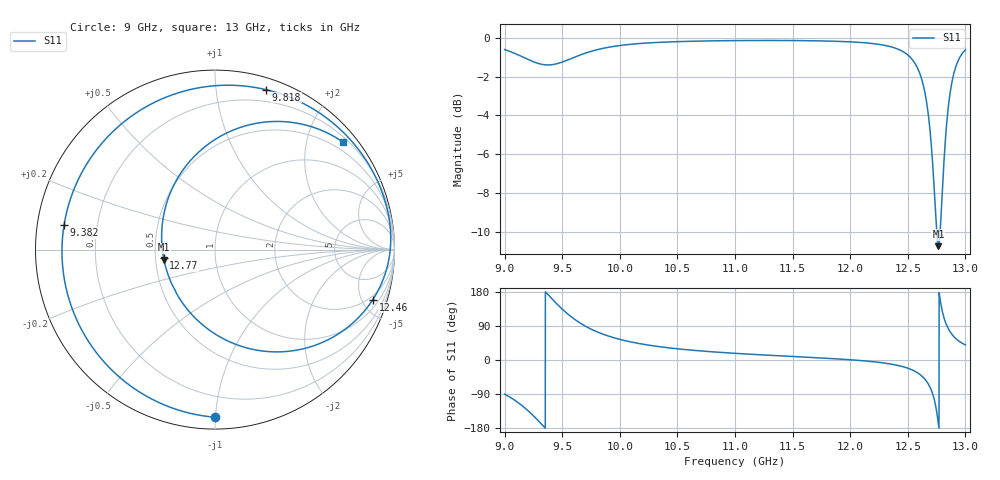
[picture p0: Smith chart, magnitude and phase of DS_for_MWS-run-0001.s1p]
! TOUCHSTONE file generated by CST DESIGN STUDIO
! Date and time: Tue Feb  4 18:03:52 2025
! Project name: C:\Work\MatlabApps\UnitCellOptimizationMatlab\CST\unitcell.cst
! Tree item: Tasks\Sweep1\SPara1\S-Parameters
! Header version: 2024
! Port assignment regex: !\s*Touchstone port\s*([0-9]+)\s*=\s*(CST MWS port|CST DES external port|CST DES block port)\s*(.+)\s* \(\"(.*)\"\)(\s*mode\s*([0-9]+))?.*
! Touchstone port assignment:
! Touchstone port 1 = CST DES external port 1 ("")
# GHz S MA R 50
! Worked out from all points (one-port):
!   4001 points, 9 GHz to 13 GHz, reference 50 ohm
!   lowest |S11| = -10.8 dB at 12.77 GHz (marker M1), VSWR 1.82, Z = 27.7 - j3.41 ohm
!   |S11| at or under -10 dB: 12.74997 GHz to 12.78077 GHz (30.8 MHz wide, 0.241 % of centre)
!   S11 on the Smith chart (normalised r, x): 9 GHz: 0.07, -1.00; 9.382 GHz: 0.08, +0.08; 9.818 GHz: 0.10, +1.36; 12.46 GHz: 1.61, -6.04; 12.77 GHz: 0.55, -0.05; 13 GHz: 0.30, +2.73
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9  0.9337 -90.1
9.099  0.9097 -108.5
9.186  0.8853 -129.2
9.292  0.8597 -160.1
9.382  0.852 170.7
9.5  0.8668 134.4
9.566  0.8821 117.0
9.637  0.8995 101.2
9.818  0.9352 72.3
10  0.9564 54.4
10.216  0.9699 40.9
10.5  0.9787 29.6
11  0.9848 17.6
11.5  0.9851 9.3
12  0.9774 0.6
12.27  0.9609 -7.0
12.458  0.9225 -17.6
12.5  0.9041 -21.6
12.604  0.8101 -37.9
12.682  0.62 -65.5
12.724  0.4333 -97.5
12.766  0.29 -168.8
12.767  0.2902 -171.0
12.79  0.3534 142.8
12.816  0.4912 109.6
12.857  0.6844 79.8
12.925  0.8564 54.3
13  0.932 39.9
